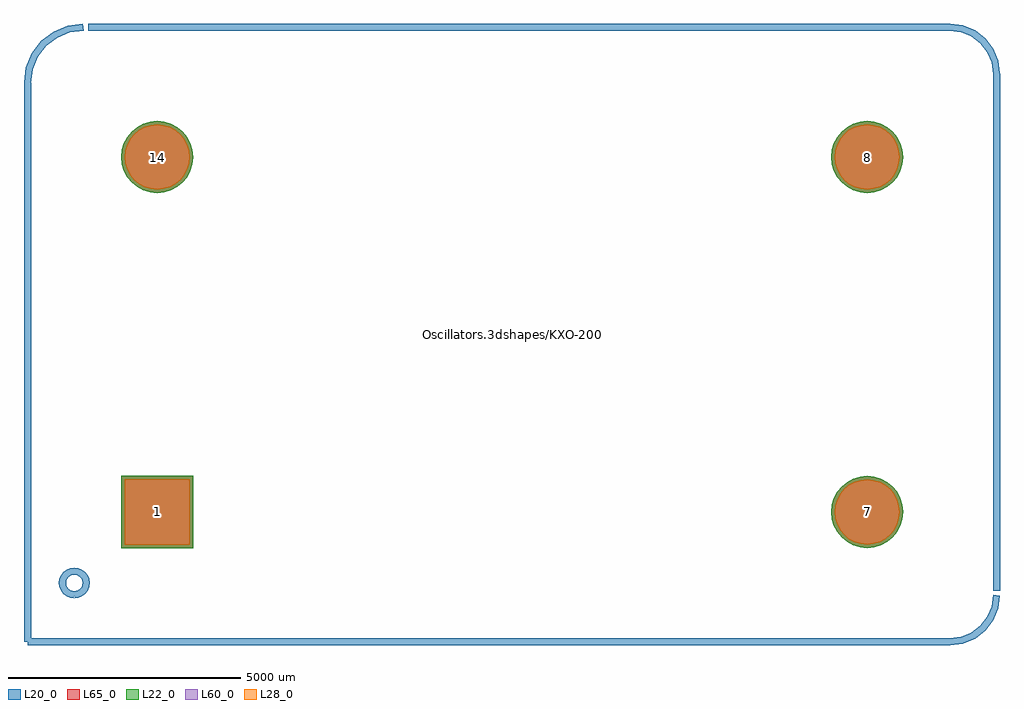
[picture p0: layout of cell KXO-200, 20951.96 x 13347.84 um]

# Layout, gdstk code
import gdstk
lib = gdstk.Library(unit=1e-6, precision=1e-09)
def R(c, l, rs):  # rectangles x0, y0, x1, y1
    for r in rs: c.add(gdstk.rectangle(r[:2], r[2:], *l))
def P(c, l, *ps):  # polygons
    for p in ps: c.add(gdstk.Polygon(p, *l))
L20_0 = (20, 0)
L22_0 = (22, 0)
L28_0 = (28, 0)
L60_0 = (60, 0)
L65_0 = (65, 0)

kxo_200 = lib.new_cell('KXO-200')
R(kxo_200, L22_0, [(-8393.5,-4583.5,-6846.5,-3036.5)])
P(kxo_200, L22_0, [(-6846.5,3810),(-6861.363,3960.902),(-6905.379,4106.006),(-6976.858,4239.734),(-7073.053,4356.947),(-7190.266,4453.142),(-7323.994,4524.621),(-7469.098,4568.637),(-7620,4583.5),(-7770.902,4568.637),(-7916.006,4524.621),(-8049.734,4453.142),(-8166.947,4356.947),(-8263.142,4239.734),(-8334.621,4106.006),(-8378.637,3960.902),(-8393.5,3810),(-8378.637,3659.098),(-8334.621,3513.994),(-8263.142,3380.266),(-8166.947,3263.053),(-8049.734,3166.858),(-7916.006,3095.379),(-7770.902,3051.363),(-7620,3036.5),(-7469.098,3051.363),(-7323.994,3095.379),(-7190.266,3166.858),(-7073.053,3263.053),(-6976.858,3380.266),(-6905.379,3513.994),(-6861.363,3659.098)],
  [(8393.5,3810),(8378.637,3960.902),(8334.621,4106.006),(8263.142,4239.734),(8166.947,4356.947),(8049.734,4453.142),(7916.006,4524.621),(7770.902,4568.637),(7620,4583.5),(7469.098,4568.637),(7323.994,4524.621),(7190.266,4453.142),(7073.053,4356.947),(6976.858,4239.734),(6905.379,4106.006),(6861.363,3960.902),(6846.5,3810),(6861.363,3659.098),(6905.379,3513.994),(6976.858,3380.266),(7073.053,3263.053),(7190.266,3166.858),(7323.994,3095.379),(7469.098,3051.363),(7620,3036.5),(7770.902,3051.363),(7916.006,3095.379),(8049.734,3166.858),(8166.947,3263.053),(8263.142,3380.266),(8334.621,3513.994),(8378.637,3659.098)],
  [(8393.5,-3810),(8378.637,-3659.098),(8334.621,-3513.994),(8263.142,-3380.266),(8166.947,-3263.053),(8049.734,-3166.858),(7916.006,-3095.379),(7770.902,-3051.363),(7620,-3036.5),(7469.098,-3051.363),(7323.994,-3095.379),(7190.266,-3166.858),(7073.053,-3263.053),(6976.858,-3380.266),(6905.379,-3513.994),(6861.363,-3659.098),(6846.5,-3810),(6861.363,-3960.902),(6905.379,-4106.006),(6976.858,-4239.734),(7073.053,-4356.947),(7190.266,-4453.142),(7323.994,-4524.621),(7469.098,-4568.637),(7620,-4583.5),(7770.902,-4568.637),(7916.006,-4524.621),(8049.734,-4453.142),(8166.947,-4356.947),(8263.142,-4239.734),(8334.621,-4106.006),(8378.637,-3960.902)])
R(kxo_200, L28_0, [(-8318.5,-4508.5,-6921.5,-3111.5)])
P(kxo_200, L28_0, [(-6921.5,3810),(-6934.921,3946.271),(-6974.67,4077.304),(-7039.218,4198.066),(-7126.086,4303.914),(-7231.934,4390.782),(-7352.696,4455.33),(-7483.729,4495.079),(-7620,4508.5),(-7756.271,4495.079),(-7887.304,4455.33),(-8008.066,4390.782),(-8113.914,4303.914),(-8200.782,4198.066),(-8265.33,4077.304),(-8305.079,3946.271),(-8318.5,3810),(-8305.079,3673.729),(-8265.33,3542.696),(-8200.782,3421.934),(-8113.914,3316.086),(-8008.066,3229.218),(-7887.304,3164.67),(-7756.271,3124.921),(-7620,3111.5),(-7483.729,3124.921),(-7352.696,3164.67),(-7231.934,3229.218),(-7126.086,3316.086),(-7039.218,3421.934),(-6974.67,3542.696),(-6934.921,3673.729)],
  [(8318.5,3810),(8305.079,3946.271),(8265.33,4077.304),(8200.782,4198.066),(8113.914,4303.914),(8008.066,4390.782),(7887.304,4455.33),(7756.271,4495.079),(7620,4508.5),(7483.729,4495.079),(7352.696,4455.33),(7231.934,4390.782),(7126.086,4303.914),(7039.218,4198.066),(6974.67,4077.304),(6934.921,3946.271),(6921.5,3810),(6934.921,3673.729),(6974.67,3542.696),(7039.218,3421.934),(7126.086,3316.086),(7231.934,3229.218),(7352.696,3164.67),(7483.729,3124.921),(7620,3111.5),(7756.271,3124.921),(7887.304,3164.67),(8008.066,3229.218),(8113.914,3316.086),(8200.782,3421.934),(8265.33,3542.696),(8305.079,3673.729)],
  [(8318.5,-3810),(8305.079,-3673.729),(8265.33,-3542.696),(8200.782,-3421.934),(8113.914,-3316.086),(8008.066,-3229.218),(7887.304,-3164.67),(7756.271,-3124.921),(7620,-3111.5),(7483.729,-3124.921),(7352.696,-3164.67),(7231.934,-3229.218),(7126.086,-3316.086),(7039.218,-3421.934),(6974.67,-3542.696),(6934.921,-3673.729),(6921.5,-3810),(6934.921,-3946.271),(6974.67,-4077.304),(7039.218,-4198.066),(7126.086,-4303.914),(7231.934,-4390.782),(7352.696,-4455.33),(7483.729,-4495.079),(7620,-4508.5),(7756.271,-4495.079),(7887.304,-4455.33),(8008.066,-4390.782),(8113.914,-4303.914),(8200.782,-4198.066),(8265.33,-4077.304),(8305.079,-3946.271)])
R(kxo_200, L60_0, [(-8318.5,-4508.5,-6921.5,-3111.5)])
P(kxo_200, L60_0, [(-6921.5,3810),(-6934.921,3946.271),(-6974.67,4077.304),(-7039.218,4198.066),(-7126.086,4303.914),(-7231.934,4390.782),(-7352.696,4455.33),(-7483.729,4495.079),(-7620,4508.5),(-7756.271,4495.079),(-7887.304,4455.33),(-8008.066,4390.782),(-8113.914,4303.914),(-8200.782,4198.066),(-8265.33,4077.304),(-8305.079,3946.271),(-8318.5,3810),(-8305.079,3673.729),(-8265.33,3542.696),(-8200.782,3421.934),(-8113.914,3316.086),(-8008.066,3229.218),(-7887.304,3164.67),(-7756.271,3124.921),(-7620,3111.5),(-7483.729,3124.921),(-7352.696,3164.67),(-7231.934,3229.218),(-7126.086,3316.086),(-7039.218,3421.934),(-6974.67,3542.696),(-6934.921,3673.729)],
  [(8318.5,3810),(8305.079,3946.271),(8265.33,4077.304),(8200.782,4198.066),(8113.914,4303.914),(8008.066,4390.782),(7887.304,4455.33),(7756.271,4495.079),(7620,4508.5),(7483.729,4495.079),(7352.696,4455.33),(7231.934,4390.782),(7126.086,4303.914),(7039.218,4198.066),(6974.67,4077.304),(6934.921,3946.271),(6921.5,3810),(6934.921,3673.729),(6974.67,3542.696),(7039.218,3421.934),(7126.086,3316.086),(7231.934,3229.218),(7352.696,3164.67),(7483.729,3124.921),(7620,3111.5),(7756.271,3124.921),(7887.304,3164.67),(8008.066,3229.218),(8113.914,3316.086),(8200.782,3421.934),(8265.33,3542.696),(8305.079,3673.729)],
  [(8318.5,-3810),(8305.079,-3673.729),(8265.33,-3542.696),(8200.782,-3421.934),(8113.914,-3316.086),(8008.066,-3229.218),(7887.304,-3164.67),(7756.271,-3124.921),(7620,-3111.5),(7483.729,-3124.921),(7352.696,-3164.67),(7231.934,-3229.218),(7126.086,-3316.086),(7039.218,-3421.934),(6974.67,-3542.696),(6934.921,-3673.729),(6921.5,-3810),(6934.921,-3946.271),(6974.67,-4077.304),(7039.218,-4198.066),(7126.086,-4303.914),(7231.934,-4390.782),(7352.696,-4455.33),(7483.729,-4495.079),(7620,-4508.5),(7756.271,-4495.079),(7887.304,-4455.33),(8008.066,-4390.782),(8113.914,-4303.914),(8200.782,-4198.066),(8265.33,-4077.304),(8305.079,-3946.271)])
R(kxo_200, L65_0, [(-8393.5,-4583.5,-6846.5,-3036.5)])
P(kxo_200, L65_0, [(-6846.5,3810),(-6861.363,3960.902),(-6905.379,4106.006),(-6976.858,4239.734),(-7073.053,4356.947),(-7190.266,4453.142),(-7323.994,4524.621),(-7469.098,4568.637),(-7620,4583.5),(-7770.902,4568.637),(-7916.006,4524.621),(-8049.734,4453.142),(-8166.947,4356.947),(-8263.142,4239.734),(-8334.621,4106.006),(-8378.637,3960.902),(-8393.5,3810),(-8378.637,3659.098),(-8334.621,3513.994),(-8263.142,3380.266),(-8166.947,3263.053),(-8049.734,3166.858),(-7916.006,3095.379),(-7770.902,3051.363),(-7620,3036.5),(-7469.098,3051.363),(-7323.994,3095.379),(-7190.266,3166.858),(-7073.053,3263.053),(-6976.858,3380.266),(-6905.379,3513.994),(-6861.363,3659.098)],
  [(8393.5,3810),(8378.637,3960.902),(8334.621,4106.006),(8263.142,4239.734),(8166.947,4356.947),(8049.734,4453.142),(7916.006,4524.621),(7770.902,4568.637),(7620,4583.5),(7469.098,4568.637),(7323.994,4524.621),(7190.266,4453.142),(7073.053,4356.947),(6976.858,4239.734),(6905.379,4106.006),(6861.363,3960.902),(6846.5,3810),(6861.363,3659.098),(6905.379,3513.994),(6976.858,3380.266),(7073.053,3263.053),(7190.266,3166.858),(7323.994,3095.379),(7469.098,3051.363),(7620,3036.5),(7770.902,3051.363),(7916.006,3095.379),(8049.734,3166.858),(8166.947,3263.053),(8263.142,3380.266),(8334.621,3513.994),(8378.637,3659.098)],
  [(8393.5,-3810),(8378.637,-3659.098),(8334.621,-3513.994),(8263.142,-3380.266),(8166.947,-3263.053),(8049.734,-3166.858),(7916.006,-3095.379),(7770.902,-3051.363),(7620,-3036.5),(7469.098,-3051.363),(7323.994,-3095.379),(7190.266,-3166.858),(7073.053,-3263.053),(6976.858,-3380.266),(6905.379,-3513.994),(6861.363,-3659.098),(6846.5,-3810),(6861.363,-3960.902),(6905.379,-4106.006),(6976.858,-4239.734),(7073.053,-4356.947),(7190.266,-4453.142),(7323.994,-4524.621),(7469.098,-4568.637),(7620,-4583.5),(7770.902,-4568.637),(7916.006,-4524.621),(8049.734,-4453.142),(8166.947,-4356.947),(8263.142,-4239.734),(8334.621,-4106.006),(8378.637,-3960.902)])
kxo_200.add(gdstk.FlexPath([(9400.54,-6598.92),(9658.898,-6564.906),(9899.65,-6465.184),(10106.388,-6306.548),(10265.024,-6099.81),(10364.746,-5859.058),(10398.76,-5600.7)], 149.998, ends="flush", simple_path=True, layer=20, datatype=0))  # L20_0
kxo_200.add(gdstk.FlexPath([(-9204.96,6598.92),(-9515.253,6558.069),(-9804.4,6438.301),(-10052.696,6247.776),(-10243.221,5999.48),(-10362.989,5710.333),(-10403.84,5400.04)], 149.998, ends="flush", simple_path=True, layer=20, datatype=0))  # L20_0
kxo_200.add(gdstk.FlexPath([(10398.76,5600.7),(10364.746,5859.058),(10265.024,6099.81),(10106.388,6306.548),(9899.65,6465.184),(9658.898,6564.906),(9400.54,6598.92)], 149.998, ends="flush", simple_path=True, layer=20, datatype=0))  # L20_0
kxo_200.add(gdstk.FlexPath([(-9100.82,6598.92),(9400.54,6598.92)], 149.998, ends="flush", simple_path=True, layer=20, datatype=0))  # L20_0
kxo_200.add(gdstk.FlexPath([(10398.76,5600.7),(10398.76,-5499.1)], 149.998, ends="flush", simple_path=True, layer=20, datatype=0))  # L20_0
kxo_200.add(gdstk.FlexPath([(9400.54,-6598.92),(-10398.76,-6598.92)], 149.998, ends="flush", simple_path=True, layer=20, datatype=0))  # L20_0
kxo_200.add(gdstk.FlexPath([(-10398.76,5400.04),(-10398.76,-6598.92)], 149.998, ends="flush", simple_path=True, layer=20, datatype=0))  # L20_0
kxo_200.add(gdstk.FlexPath([(-9398,-5588),(-9332.26,-5579.345),(-9271,-5553.97),(-9218.395,-5513.605),(-9178.03,-5461),(-9152.655,-5399.74),(-9144,-5334),(-9152.655,-5268.26),(-9178.03,-5207),(-9218.395,-5154.395),(-9271,-5114.03),(-9332.26,-5088.655),(-9398,-5080),(-9463.74,-5088.655),(-9525,-5114.03),(-9577.605,-5154.395),(-9617.97,-5207),(-9643.345,-5268.26),(-9652,-5334),(-9643.345,-5399.74),(-9617.97,-5461),(-9577.605,-5513.605),(-9525,-5553.97),(-9463.74,-5579.345),(-9398,-5588)], 149.998, ends="flush", simple_path=True, layer=20, datatype=0))  # L20_0
kxo_200.add(gdstk.Label('Oscillators.3dshapes/KXO-200.wrl', (0,0), layer=12, texttype=0))
kxo_200.add(gdstk.Label('14', (-7620,3810), layer=28, texttype=0))
kxo_200.add(gdstk.Label('8', (7620,3810), layer=28, texttype=0))
kxo_200.add(gdstk.Label('7', (7620,-3810), layer=28, texttype=0))
kxo_200.add(gdstk.Label('1', (-7620,-3810), layer=28, texttype=0))
kxo_200.add(gdstk.Label('type', (0,-8636), layer=9, texttype=0))
kxo_200.add(gdstk.Label('devicename', (-254,8636), layer=9, texttype=0))

lib.write_gds('KXO-200.gds')
